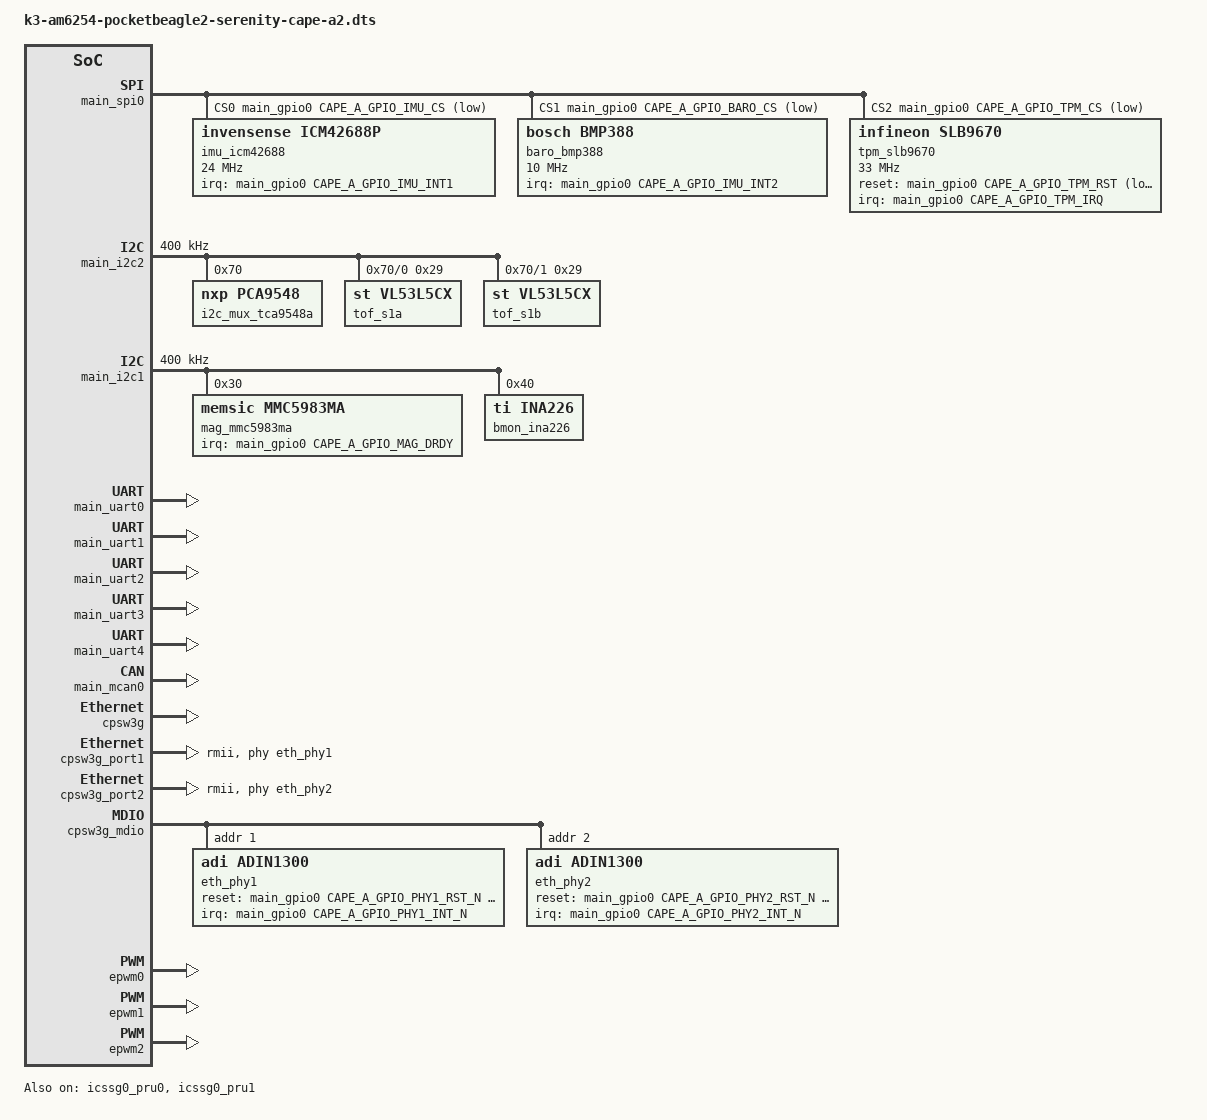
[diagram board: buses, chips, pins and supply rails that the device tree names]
// SPDX-License-Identifier: CC-BY-4.0
/*
 * k3-am6254-pocketbeagle2-serenity-cape-a2.dts
 * Device tree overlay — Serenity UAV Cape-A-2 (EMI-hardened Sensor & Flight Control)
 *
 * Author:  Steve Griffing, PE(CSE), CISSP-ISSEP, CPP
 * License: CC BY 4.0 — creativecommons.org/licenses/by/4.0
 *
 * Target:
 *   Board  : PocketBeagle 2 Industrial (DigiKey 2820-100003007-ND)
 *   SoC    : TI AM6254 (quad Cortex-A53 @ 1.4 GHz, dual PRU-ICSS)
 *   OS     : BeagleBone Debian Trixie (Linux ≥ 6.1, dtc 1.7.x)
 *   Cape   : Cape-A-2 — EMI-hardened sensor + flight control cape
 *   Rev    : N-2
 *
 * Build:
 *   dtc -@ -I dts -O dtb \
 *       -o k3-am6254-pocketbeagle2-serenity-cape-a2.dtbo \
 *       k3-am6254-pocketbeagle2-serenity-cape-a2.dts
 *
 * Install:
 *   sudo cp *.dtbo /boot/firmware/overlays/
 *   Add "fdtoverlays /overlays/k3-am6254-pocketbeagle2-serenity-cape-a2.dtbo"
 *   to /boot/firmware/extlinux/extlinux.conf
 *
 * ═══════════════════════════════════════════════════════════════════════════
 * PAD OFFSET VERIFICATION NOTICE
 * ═══════════════════════════════════════════════════════════════════════════
 * AM62X_IOPAD offsets must be cross-checked against BOTH:
 *   (1) TI AM6254 Technical Reference Manual, SPRUJ40, Table 7-1
 *       "MAIN Domain Pad Control Registers"
 *   (2) PocketBeagle 2 Industrial schematic — BeagleBoard.org hardware repo
 *       (maps AM6254 balls to P1/P2 header pins)
 * Offsets tagged [CONFIRMED] are from k3-am625-sk.dtsi, Linux 6.x kernel.
 * Offsets tagged [ESTIMATE] follow the AM62x pad-table pattern and must be
 * verified before committing to PCB fab or first-flight operations.
 * GPIO line numbers (main_gpio0 / main_gpio1) are logical and must be
 * verified against the PocketBeagle 2 expansion header pin map.
 * ═══════════════════════════════════════════════════════════════════════════
 *
 * EMI-hardened -2 variant: 5 kV reinforced insulation on CAN FD, RS-485, Ethernet
 * [REF-IEC-001 Cl.5.5.2] / [REF-VDE-001 Cl.4.3, Cl.5.3] — per component datasheet certs
 *
 * Cape-A-2 peripheral map:
 *   SPI0      — ICM-42688-P IMU, BMP388 barometer, SLB9670 TPM 2.0
 *               (Cape-A-2: ISOW1044BDFMR CAN FD; ADM2795EBRWZ RS-485; ADIN1300BCPZ PHY)
 *   I2C1      — MMC5983MA magnetometer (0x30), INA226AIDGSR battery monitor (0x40)
 *   I2C2      — TCA9548A 8-ch mux → 2× VL53L5CX ToF (array A), MS4525DO
 *   UART0     — Debug console (JST-GH 4-pin)
 *   UART1     — ESC UART telemetry input (BLHeli32/Hobbywing)
 *   UART2     — SBUS RC input (100 kbaud 8E2 after 74LVC1G14 signal inverter)
 *   UART3     — u-blox M10Q GNSS (38400 baud default)
 *   UART4     — RS-485 half-duplex via ADM2795EBRWZ (DE/RE# GPIOs)
 *   MCAN0     — CAN FD 1/8 Mbps via ISOW1044BDFMR (isolated, STB# GPIO)
 *   CPSW3G    — 2× ADIN1300BCPZ 100BASE-TX RMII PHY (isolated via ISO7642FDWRR + Würth 749010012A)
 *   EHRPWM0-5 — Servo/ESC PWM (6 channels hardware, 50/400 Hz)
 *   PRU-ICSS0/PRU0 — MIL-STD-1553B Manchester II codec (1 Mbps)
 *   PRU-ICSS0/PRU1 — Extended servo PWM channels 6-7 (deterministic)
 *
 * References:
 *   [1] TI AM6254 TRM, SPRUJ40 — pad table §7.1, PRU-ICSS §12, CPSW3G §13, MCAN §15
 *   [2] PocketBeagle 2 Industrial schematic, BeagleBoard.org hardware repo
 *   [3] ISOW1044BDFMR datasheet, TI SLLSEP5 — isolated CAN FD transceiver
 *       [REF-IEC-001 Cl.5.5.2] / [REF-VDE-001 Cl.4.3, Cl.5.3] — 5 kV RI
 *       [REF-ISO-001 Cl.10, Cl.12] — CAN FD protocol interface
 *   [4] ADM2795EBRWZ datasheet, Analog Devices — isolated RS-485 transceiver
 *       [REF-IEC-001 Cl.5.5.2] / [REF-VDE-001 Cl.4.3, Cl.5.3] — 5 kV RI
 *   [5] ADIN1300BCPZ datasheet, Analog Devices Rev B — 100/1000BASE-T PHY
 *       [REF-IEEE-001 Cl.22 RMII, Cl.24 100BASE-TX]
 *   [6] ISO7642FDWRR datasheet, TI SLLSEP2 — 6-channel digital isolator
 *       [REF-IEC-001 Cl.5.5.2] — isolation component in Ethernet barrier
 *   [7] Würth Elektronik 749010012A datasheet — Ethernet transformer 1500 Vrms
 *       [REF-IEEE-001 Cl.38] — 1500 Vrms port isolation per IEEE 802.3
 *   [8] MMC5983MA datasheet, MEMSIC DS-MMC5983MA-A, Rev 0.3
 *   [9] INA226 datasheet, TI SBOS547C
 *   [10] PRTR5V0U2X datasheet, Nexperia — TVS for ESD/transient protection
 */

/dts-v1/;
/plugin/;

#include <dt-bindings/gpio/gpio.h>
#include <dt-bindings/interrupt-controller/irq.h>
#include <dt-bindings/pinctrl/k3.h>
#include <dt-bindings/net/ti-dp83867.h>

/* ───────────────────────────────────────────────────────────────────────────
 * GPIO line assignments on main_gpio0 — VERIFY AGAINST PB2 SCHEMATIC
 * Line numbers correspond to AM6254 GPIO bank 0 pins exposed on P1/P2.
 * Identical to Cape-A-1 GPIO assignments; the EMI-hardened transceivers
 * (ISOW1044BDFMR, ADM2795EBRWZ, ADIN1300BCPZ) present the same electrical
 * interface to the SoC as the v1 components.
 * ─────────────────────────────────────────────────────────────────────────*/
#define CAPE_A_GPIO_IMU_INT1        14  /* ICM-42688-P interrupt 1      [ESTIMATE] */
#define CAPE_A_GPIO_IMU_INT2        15  /* ICM-42688-P interrupt 2      [ESTIMATE] */
#define CAPE_A_GPIO_IMU_CS          16  /* SPI0 CS — ICM-42688-P        [ESTIMATE] */
#define CAPE_A_GPIO_BARO_CS         17  /* SPI0 CS — BMP388             [ESTIMATE] */
#define CAPE_A_GPIO_TPM_CS          18  /* SPI0 CS — SLB9670 TPM        [ESTIMATE] */
#define CAPE_A_GPIO_TPM_IRQ         19  /* SLB9670 IRQ (active-low)     [ESTIMATE] */
#define CAPE_A_GPIO_TPM_RST         20  /* SLB9670 reset (active-low)   [ESTIMATE] */
#define CAPE_A_GPIO_GPS_RST         21  /* u-blox M10Q RESETN           [ESTIMATE] */
#define CAPE_A_GPIO_GPS_TIMEPULSE   22  /* u-blox M10Q TIMEPULSE        [ESTIMATE] */
#define CAPE_A_GPIO_RS485_DE        23  /* ADM2795EBRWZ driver enable   [ESTIMATE] */
#define CAPE_A_GPIO_RS485_RE_N      24  /* ADM2795EBRWZ receiver enable#[ESTIMATE] */
#define CAPE_A_GPIO_CAN_STB_N       25  /* ISOW1044BDFMR standby#       [ESTIMATE] */
#define CAPE_A_GPIO_PHY1_RST_N      26  /* ADIN1300BCPZ #1 reset        [ESTIMATE] */
#define CAPE_A_GPIO_PHY1_INT_N      27  /* ADIN1300BCPZ #1 interrupt    [ESTIMATE] */
#define CAPE_A_GPIO_PHY2_RST_N      28  /* ADIN1300BCPZ #2 reset        [ESTIMATE] */
#define CAPE_A_GPIO_PHY2_INT_N      29  /* ADIN1300BCPZ #2 interrupt    [ESTIMATE] */
#define CAPE_A_GPIO_1553_OE1_N      30  /* DS26LV31 output enable 1#    [ESTIMATE] */
#define CAPE_A_GPIO_1553_OE2_N      31  /* DS26LV31 output enable 2#    [ESTIMATE] */
#define CAPE_A_GPIO_MAG_DRDY        32  /* MMC5983MA DRDY interrupt (active-high) [ESTIMATE] */

/* Cape-A-2: No additional GPIO defines vs v1.
 * ISOW1044BDFMR CAN FD transceiver: same STB# GPIO as ATA6561.
 * ADM2795EBRWZ RS-485 transceiver: same DE/RE# GPIOs as MAX3485E.
 * ADIN1300BCPZ Ethernet PHY: same RST#/INT# GPIOs as DP83825I.
 * PRTR5V0U2X TVS on SBUS_RAW: passive, no GPIO needed.                     */

/* ───────────────────────────────────────────────────────────────────────────
 * Section 1 — Pin control configurations
 * ─────────────────────────────────────────────────────────────────────────*/
&main_pmx0 {

    /* SPI0: ICM-42688-P IMU + BMP388 barometer + SLB9670 TPM.
     * Chip selects are GPIO-controlled (cs-gpios on the SPI node) so only
     * the 4-wire bus pins appear here.                                    */
    cape_a_spi0_pins: cape-a-spi0-pins {
        pinctrl-single,pins = <
            /* [CONFIRMED — k3-am625-sk.dtsi] */
            AM62X_IOPAD(0x01bc, PIN_INPUT,  0) /* (A13) SPI0_CLK              */
            AM62X_IOPAD(0x01c0, PIN_OUTPUT, 0) /* (B13) SPI0_D0   (MOSI)      */
            AM62X_IOPAD(0x01c4, PIN_INPUT,  0) /* (B12) SPI0_D1   (MISO)      */
        >;
    };

    /* I2C2: TCA9548A mux + downstream VL53L5CX ToF + MS4525DO airspeed.  */
    cape_a_i2c2_pins: cape-a-i2c2-pins {
        pinctrl-single,pins = <
            /* [ESTIMATE — GPMC0_CSn2/CSn3 pads in mux1] */
            AM62X_IOPAD(0x00b0, PIN_INPUT_PULLUP, 1) /* (K22) I2C2_SCL          */
            AM62X_IOPAD(0x00b4, PIN_INPUT_PULLUP, 1) /* (K24) I2C2_SDA          */
        >;
    };

    /* UART0: debug console.                                               */
    cape_a_uart0_pins: cape-a-uart0-pins {
        pinctrl-single,pins = <
            /* [CONFIRMED — k3-am625-sk.dtsi, SPI0_CS0/CS1 pads mux1]    */
            AM62X_IOPAD(0x01c8, PIN_INPUT,  1) /* (D14) UART0_RXD             */
            AM62X_IOPAD(0x01cc, PIN_OUTPUT, 1) /* (E14) UART0_TXD             */
        >;
    };

    /* UART1: ESC UART telemetry (BLHeli32 / Hobbywing one-wire or 2-wire).*/
    cape_a_uart1_pins: cape-a-uart1-pins {
        pinctrl-single,pins = <
            /* [CONFIRMED — MCASP0_AFSR/ACLKR pads mux2]                  */
            AM62X_IOPAD(0x01ac, PIN_INPUT,  2) /* (E19) UART1_RXD             */
            AM62X_IOPAD(0x01b0, PIN_OUTPUT, 2) /* (A20) UART1_TXD             */
        >;
    };

    /* UART3: u-blox M10Q GNSS, 38400 baud default (upgradeable to 460800).*/
    cape_a_uart3_pins: cape-a-uart3-pins {
        pinctrl-single,pins = <
            /* [ESTIMATE — GPMC0_AD area, mux4] */
            AM62X_IOPAD(0x0048, PIN_INPUT,  4) /* UART3_RXD                   */
            AM62X_IOPAD(0x004c, PIN_OUTPUT, 4) /* UART3_TXD                   */
        >;
    };

    /* UART4: RS-485 (ADM2795EBRWZ). Direction controlled by DE/RE# GPIOs. */
    cape_a_uart4_pins: cape-a-uart4-pins {
        pinctrl-single,pins = <
            /* [ESTIMATE — GPMC0_AD area, mux4] */
            AM62X_IOPAD(0x0058, PIN_INPUT,  4) /* UART4_RXD                   */
            AM62X_IOPAD(0x005c, PIN_OUTPUT, 4) /* UART4_TXD                   */
        >;
    };

    /* MCAN0: CAN FD via ISOW1044BDFMR isolated transceiver.              */
    cape_a_mcan0_pins: cape-a-mcan0-pins {
        pinctrl-single,pins = <
            /* [CONFIRMED — k3-am625-sk.dtsi] */
            AM62X_IOPAD(0x01d8, PIN_OUTPUT, 0) /* (C15) MCAN0_TX              */
            AM62X_IOPAD(0x01dc, PIN_INPUT,  0) /* (E15) MCAN0_RX              */
        >;
    };

    /* CPSW3G MDIO: shared MDC/MDIO bus for both ADIN1300BCPZ PHYs.       */
    cape_a_mdio_pins: cape-a-mdio-pins {
        pinctrl-single,pins = <
            /* [ESTIMATE — dedicated MDIO pad area] */
            AM62X_IOPAD(0x0160, PIN_OUTPUT,       0) /* MDC                    */
            AM62X_IOPAD(0x0164, PIN_INPUT_PULLUP, 0) /* MDIO                   */
        >;
    };

    /* CPSW3G Port 1 — RMII (ADIN1300BCPZ #1, uplink/port-side ring segment). */
    cape_a_rmii1_pins: cape-a-rmii1-pins {
        pinctrl-single,pins = <
            /* [ESTIMATE — RGMII1 pad area in RMII mux] */
            AM62X_IOPAD(0x0120, PIN_INPUT,  4) /* RMII1_RXD0                  */
            AM62X_IOPAD(0x0124, PIN_INPUT,  4) /* RMII1_RXD1                  */
            AM62X_IOPAD(0x0128, PIN_INPUT,  4) /* RMII1_RX_ER                 */
            AM62X_IOPAD(0x012c, PIN_INPUT,  4) /* RMII1_CRS_DV                */
            AM62X_IOPAD(0x0130, PIN_OUTPUT, 4) /* RMII1_TXD0                  */
            AM62X_IOPAD(0x0134, PIN_OUTPUT, 4) /* RMII1_TXD1                  */
            AM62X_IOPAD(0x0138, PIN_OUTPUT, 4) /* RMII1_TX_EN                 */
            AM62X_IOPAD(0x013c, PIN_INPUT,  4) /* RMII1_REF_CLK (50 MHz in)   */
        >;
    };

    /* CPSW3G Port 2 — RMII (ADIN1300BCPZ #2, starboard ring segment).    */
    cape_a_rmii2_pins: cape-a-rmii2-pins {
        pinctrl-single,pins = <
            /* [ESTIMATE — RGMII2 pad area in RMII mux] */
            AM62X_IOPAD(0x0148, PIN_INPUT,  4) /* RMII2_RXD0                  */
            AM62X_IOPAD(0x014c, PIN_INPUT,  4) /* RMII2_RXD1                  */
            AM62X_IOPAD(0x0150, PIN_INPUT,  4) /* RMII2_RX_ER                 */
            AM62X_IOPAD(0x0154, PIN_INPUT,  4) /* RMII2_CRS_DV                */
            AM62X_IOPAD(0x0158, PIN_OUTPUT, 4) /* RMII2_TXD0                  */
            AM62X_IOPAD(0x015c, PIN_OUTPUT, 4) /* RMII2_TXD1                  */
            AM62X_IOPAD(0x0168, PIN_OUTPUT, 4) /* RMII2_TX_EN                 */
            AM62X_IOPAD(0x016c, PIN_INPUT,  4) /* RMII2_REF_CLK               */
        >;
    };

    /* EHRPWM0-A / EHRPWM1-A: servo/ESC channels 0 and 1.                */
    cape_a_ehrpwm0_pins: cape-a-ehrpwm0-pins {
        pinctrl-single,pins = <
            /* [ESTIMATE] */
            AM62X_IOPAD(0x01a0, PIN_OUTPUT, 6) /* EHRPWM0_A (SERVO0)          */
            AM62X_IOPAD(0x01a4, PIN_OUTPUT, 6) /* EHRPWM0_B (SERVO1)          */
        >;
    };

    cape_a_ehrpwm1_pins: cape-a-ehrpwm1-pins {
        pinctrl-single,pins = <
            /* [ESTIMATE] */
            AM62X_IOPAD(0x01a8, PIN_OUTPUT, 6) /* EHRPWM1_A (SERVO2)          */
            AM62X_IOPAD(0x01b8, PIN_OUTPUT, 6) /* EHRPWM1_B (SERVO3)          */
        >;
    };

    cape_a_ehrpwm2_pins: cape-a-ehrpwm2-pins {
        pinctrl-single,pins = <
            /* [ESTIMATE] */
            AM62X_IOPAD(0x01b4, PIN_OUTPUT, 6) /* EHRPWM2_A (SERVO4)          */
            AM62X_IOPAD(0x01b8, PIN_OUTPUT, 6) /* EHRPWM2_B (SERVO5)          */
        >;
    };

    /* PRU-ICSS0 MIL-STD-1553 GPIO pins.
     * PRU0 drives DS26LV31 TX inputs (differential pair) and reads
     * DS26LV32 RX outputs (differential pair).
     * PRG0_PRU0_GPIOxx line numbers must match the PRU firmware.         */
    cape_a_pru0_1553_pins: cape-a-pru0-1553-pins {
        pinctrl-single,pins = <
            /* [ESTIMATE — PRG0 GPIO pad area] */
            AM62X_IOPAD(0x00d0, PIN_OUTPUT, 5) /* PRG0_PRU0_GPO0 → 1553_TX_P  */
            AM62X_IOPAD(0x00d4, PIN_OUTPUT, 5) /* PRG0_PRU0_GPO1 → 1553_TX_N  */
            AM62X_IOPAD(0x00d8, PIN_INPUT,  5) /* PRG0_PRU0_GPI2 ← 1553_RX_P  */
            AM62X_IOPAD(0x00dc, PIN_INPUT,  5) /* PRG0_PRU0_GPI3 ← 1553_RX_N  */
        >;
    };

    /* PRU-ICSS0 PRU1 extra servo PWM pins (channels 6-7).               */
    cape_a_pru1_pwm_pins: cape-a-pru1-pwm-pins {
        pinctrl-single,pins = <
            /* [ESTIMATE] */
            AM62X_IOPAD(0x00e0, PIN_OUTPUT, 5) /* PRG0_PRU1_GPO0 → SERVO6     */
            AM62X_IOPAD(0x00e4, PIN_OUTPUT, 5) /* PRG0_PRU1_GPO1 → SERVO7     */
        >;
    };

    /* I2C1: MMC5983MA magnetometer + INA226AIDGSR battery voltage monitor.
     * 400 kHz fast mode.  2.2 kΩ pull-ups to +3V3 on Cape-A-2 PCB.       */
    cape_a_i2c1_pins: cape-a-i2c1-pins {
        pinctrl-single,pins = <
            /* [ESTIMATE — I2C1 pad area; verify in SPRUJ40 Table 7-1] */
            AM62X_IOPAD(0x0260, PIN_INPUT_PULLUP, 0) /* (D7)  I2C1_SCL          */
            AM62X_IOPAD(0x0264, PIN_INPUT_PULLUP, 0) /* (E7)  I2C1_SDA          */
        >;
    };

    /* UART2: SBUS RC input (receive-only).
     * Signal path: RC receiver → J_SBUS (JST-GH 3P, Pin 3) → PRTR5V0U2X TVS
     * (Cape-A-2 ESD protection on SBUS_RAW) → 100 Ω R_SBUS
     * → 74LVC1G14 Schmitt-trigger inverter (re-inverts SBUS idle-low to
     * idle-high) → UART2_RXD.
     * SBUS format: 100000 baud, 8 data bits, even parity, 2 stop bits.
     * TX pin is not muxed — SBUS is unidirectional (receive only).
     * Baud rate and format are configured at runtime by serenity-fc using
     * BOTHER / struct termios2 (Linux 3.7+ POSIX extension).               */
    cape_a_uart2_sbus_pins: cape-a-uart2-sbus-pins {
        pinctrl-single,pins = <
            /* [ESTIMATE — UART2 RXD pad, mux mode 4; verify in SPRUJ40] */
            AM62X_IOPAD(0x0060, PIN_INPUT, 4) /* UART2_RXD (SBUS after inverter) */
        >;
    };
};

/* ───────────────────────────────────────────────────────────────────────────
 * Section 2 — SPI0: IMU, barometer, TPM 2.0
 * CS lines are GPIO because the AM6254 SPI0 hardware CS count may be
 * insufficient for 3 devices; this also allows individual power sequencing.
 * ─────────────────────────────────────────────────────────────────────────*/
&main_spi0 {
    status = "okay";
    pinctrl-names = "default";
    pinctrl-0 = <&cape_a_spi0_pins>;
    /* Three GPIO chip-selects; SPI controller CS pin is not used.        */
    cs-gpios = <&main_gpio0 CAPE_A_GPIO_IMU_CS  GPIO_ACTIVE_LOW>,
               <&main_gpio0 CAPE_A_GPIO_BARO_CS GPIO_ACTIVE_LOW>,
               <&main_gpio0 CAPE_A_GPIO_TPM_CS  GPIO_ACTIVE_LOW>;
    #address-cells = <1>;
    #size-cells = <0>;

    /* ICM-42688-P 6-axis IMU — InvenSense, SPI mode 0 or 3, 24 MHz max. */
    imu_icm42688: imu@0 {
        compatible = "invensense,icm42688p";
        reg = <0>;                           /* CS index 0 (IMU_CS GPIO)   */
        spi-max-frequency = <24000000>;
        spi-cpol;                            /* CPOL=1 CPHA=1 (SPI mode 3) */
        spi-cpha;
        interrupt-parent = <&main_gpio0>;
        interrupts = <CAPE_A_GPIO_IMU_INT1 IRQ_TYPE_EDGE_RISING>;
        /*
         * Mount rotation: board coordinate frame → NED body frame.
         * Fill in after physical inspection of IMU orientation on Cape-A-2.
         * Reference: InvenSense ICM-42688-P datasheet, rev 1.7.
         */
        mount-matrix = "1", "0", "0",
                        "0", "1", "0",
                        "0", "0", "1";
    };

    /* BMP388 barometric pressure + temperature — Bosch, SPI mode 0.      */
    baro_bmp388: barometer@1 {
        compatible = "bosch,bmp388";
        reg = <1>;                           /* CS index 1 (BARO_CS GPIO)  */
        spi-max-frequency = <10000000>;
        interrupt-parent = <&main_gpio0>;
        interrupts = <CAPE_A_GPIO_IMU_INT2 IRQ_TYPE_EDGE_RISING>;
        /* Data-ready interrupt wired to same GPIO bank as IMU INT2 —
         * re-assign if conflict during layout.                           */
    };

    /* SLB9670 TPM 2.0 — Infineon, SPI mode 0, 33 MHz max.               */
    tpm_slb9670: tpm@2 {
        compatible = "infineon,slb9670";
        reg = <2>;                           /* CS index 2 (TPM_CS GPIO)   */
        spi-max-frequency = <33000000>;
        interrupt-parent = <&main_gpio0>;
        interrupts = <CAPE_A_GPIO_TPM_IRQ IRQ_TYPE_LEVEL_LOW>;
        reset-gpios = <&main_gpio0 CAPE_A_GPIO_TPM_RST GPIO_ACTIVE_LOW>;
    };
};

/* ───────────────────────────────────────────────────────────────────────────
 * Section 3 — I2C2: TCA9548A mux → VL53L5CX ToF sensors, MS4525DO airspeed
 * ─────────────────────────────────────────────────────────────────────────*/
&main_i2c2 {
    status = "okay";
    pinctrl-names = "default";
    pinctrl-0 = <&cape_a_i2c2_pins>;
    clock-frequency = <400000>;              /* Fast mode 400 kHz          */
    #address-cells = <1>;
    #size-cells = <0>;

    /* TCA9548A 8-channel I2C multiplexer — NXP/TI, address 0x70.
     * All VL53L5CX sensors share address 0x29; the mux isolates them.   */
    i2c_mux_tca9548a: i2c-mux@70 {
        compatible = "nxp,pca9548";
        reg = <0x70>;
        #address-cells = <1>;
        #size-cells = <0>;
        /* reset-gpios not wired on Cape-A-2 rev N-2; add if rev adds RST. */

        /* Channel 0: Array A sensor 1 (S1A — forward, FC3 primary).    */
        i2c_tof_ch0: i2c@0 {
            #address-cells = <1>;
            #size-cells = <0>;
            reg = <0>;

            tof_s1a: tof@29 {
                compatible = "st,vl53l5cx";
                reg = <0x29>;
                /*
                 * VL53L5CX does not expose a kernel interrupt line in
                 * the mainline driver; polling is used in firmware.
                 * Future: wire INT pin through mux GPIO expander.
                 */
            };
        };

        /* Channel 1: Array B sensor 1 (S1B — aft, FC2 primary).        */
        i2c_tof_ch1: i2c@1 {
            #address-cells = <1>;
            #size-cells = <0>;
            reg = <1>;

            tof_s1b: tof@29 {
                compatible = "st,vl53l5cx";
                reg = <0x29>;
            };
        };

        /* Channel 2: MS4525DO differential airspeed (FC1 only; optional).*/
        i2c_airspeed_ch2: i2c@2 {
            #address-cells = <1>;
            #size-cells = <0>;
            reg = <2>;

            airspeed_ms4525: airspeed@28 {
                compatible = "ms4525do";         /* VERIFY driver name    */
                reg = <0x28>;
                /* Populated on FC1 only; leave absent on FC2-FC4 builds. */
                status = "disabled";
            };
        };

        /* Channels 3-7: reserved for future sensors.                    */
    };
};

/* ───────────────────────────────────────────────────────────────────────────
 * Section 3b — I2C1: MMC5983MA magnetometer + INA226AIDGSR battery monitor
 * (Cape-A-2 EMI-hardened variants of QMC5883L and INA219 on Cape-A-1)
 * ─────────────────────────────────────────────────────────────────────────*/
&main_i2c1 {
    status = "okay";
    pinctrl-names = "default";
    pinctrl-0 = <&cape_a_i2c1_pins>;
    clock-frequency = <400000>;
    #address-cells = <1>;
    #size-cells = <0>;

    /* MMC5983MA 3-axis magnetometer — MEMSIC, LGA-16 (2×2 mm), AEC-Q100.
     * Replaces QMC5883L (Cape-A-1) with AEC-Q100 automotive-grade part.
     * 18-bit output, ±8 Gauss full-scale, I2C address 0x30 (SA0 pin = GND).
     * On-chip SET/RESET coil eliminates need for external degaussing.
     * Bandwidth: up to 1000 Hz (continuous measurement mode, BW=11).
     * DRDY output is push-pull, active-high; wired to CAPE_A_GPIO_MAG_DRDY.
     *
     * Key differences from QMC5883L:
     *   - Address 0x30 (vs 0x0D)
     *   - 18-bit vs 16-bit output
     *   - SA0 address select pin (vs fixed address)
     *   - Higher EMI immunity (AEC-Q100 qualification)
     *
     * Reference: MMC5983MA datasheet, MEMSIC, DS-MMC5983MA-A, Rev 0.3.     */
    mag_mmc5983ma: magnetometer@30 {
        compatible = "memsic,mmc5983ma";
        reg = <0x30>;
        interrupt-parent = <&main_gpio0>;
        interrupts = <CAPE_A_GPIO_MAG_DRDY IRQ_TYPE_EDGE_RISING>;
        /*
         * mount-matrix: identity by default.  Adjust after physical
         * inspection of Cape-A-2 PCB to align sensor frame with NED body.
         */
        mount-matrix = "1", "0", "0",
                        "0", "1", "0",
                        "0", "0", "1";
    };

    /* INA226AIDGSR battery voltage monitor — TI, VSSOP-8, I2C addr 0x40.
     * Replaces INA219AIDR (Cape-A-1) with higher voltage range device.
     * A0 and A1 address pins both pulled to GND on Cape-A-2.
     * IN+ and IN− are tied together (voltage-only mode; no shunt resistor).
     * Reads VBAT_MON_P (6S LiPo main bus) via J_VBAT JST-GH 2P connector.
     *
     * Key differences from INA219:
     *   - Max bus voltage: 36 V (vs 26 V on INA219) — more margin for 6S
     *   - 16-bit vs 12-bit bus voltage ADC (1.25 mV vs 4 mV LSB)
     *   - VSSOP-8 (smaller package) vs SOIC-8
     *   - ALERT pin available (not used in v2, reserved for future OVP)
     *   - VS supply pin (powers internal circuits from bus side)
     *
     * Reference: INA226 datasheet, TI SBOS547C, §8.5 Electrical Characteristics. */
    bmon_ina226: battery-monitor@40 {
        compatible = "ti,ina226";
        reg = <0x40>;
        shunt-resistor = <0>; /* Voltage-only mode; no shunt installed */
    };
};

/* ───────────────────────────────────────────────────────────────────────────
 * Section 4 — UARTs
 * ─────────────────────────────────────────────────────────────────────────*/

/* UART0: debug console (115200 8N1).                                      */
&main_uart0 {
    status = "okay";
    pinctrl-names = "default";
    pinctrl-0 = <&cape_a_uart0_pins>;
};

/* UART1: ESC UART telemetry, 115200 baud (BLHeli32 digital protocol).
 * The AM6254 eCAP peripheral captures the BDSHOT600 telemetry frame;
 * this UART is used as a fallback for analogue telemetry only.           */
&main_uart1 {
    status = "okay";
    pinctrl-names = "default";
    pinctrl-0 = <&cape_a_uart1_pins>;
};

/* UART2: SBUS RC input (100 kbaud, 8 data bits, even parity, 2 stop bits).
 *
 * SBUS is a proprietary RC protocol (Futaba S.BUS) that uses an inverted
 * UART signal at 100 kbaud 8E2.  On Cape-A-2 the PRTR5V0U2X TVS provides
 * ESD/transient protection on SBUS_RAW before the 74LVC1G14 Schmitt-trigger
 * inverter (U_SBUS) re-inverts the signal to standard idle-high UART logic
 * before it reaches UART2_RXD.  The serenity-fc daemon configures the port
 * at runtime using struct termios2 / BOTHER ioctl to achieve exactly 100000
 * baud (not available as a named POSIX B-constant), and sets PARENB |
 * CSTOPB for 8E2 framing.
 *
 * SBUS frame: 25 data bytes at 100 kbaud → 2.5 ms per frame; 14 ms nominal
 * inter-frame gap (standard Futaba SBUS).  The driver identifies frame
 * boundaries using the 0x0F start byte and 0x00 end byte.
 *
 * 16 proportional channels (11 bits each) + 2 digital channels + flags byte
 * are decoded by the sbus_input driver (firmware/common/src/sbus_input.c).  */
&main_uart2 {
    status = "okay";
    pinctrl-names = "default";
    pinctrl-0 = <&cape_a_uart2_sbus_pins>;
};

/* UART3: u-blox M10Q GNSS.  userspace (gpsd) owns this port.
 * TIMEPULSE and RESETN are managed by the serenity-fc daemon via GPIO.  */
&main_uart3 {
    status = "okay";
    pinctrl-names = "default";
    pinctrl-0 = <&cape_a_uart3_pins>;
};

/* UART4: RS-485 half-duplex via ADM2795EBRWZ (Cape-A-2 EMI-hardened; same
 * electrical interface as MAX3485E on Cape-A-1).  Direction toggled via
 * DE and RE# GPIOs.  IEC 62368-1 / VDE 0884-11 isolation: 5 kV (ADI).     */
&main_uart4 {
    status = "okay";
    pinctrl-names = "default";
    pinctrl-0 = <&cape_a_uart4_pins>;
    linux,rs485-enabled-at-boot-time;
    rs485-rts-active-high;                   /* DE asserted high = TX     */
    rs485-rx-during-tx;                      /* duplex: echo suppressed   */
};

/* ───────────────────────────────────────────────────────────────────────────
 * Section 5 — CAN FD (MCAN0 + ISOW1044BDFMR isolated transceiver)
 *
 * UART4→MCAN0: ATA6561 replaced by ISOW1044BDFMR (Cape-A-2 EMI-hardened).
 * ISOW1044BDFMR: fully-isolated CAN FD transceiver, SOIC-16W, 5 kV.
 * Electrical interface to MCAN0 is identical to ATA6561.
 * STB# GPIO (CAPE_A_GPIO_CAN_STB_N) function unchanged.
 * ─────────────────────────────────────────────────────────────────────────*/
&main_mcan0 {
    status = "okay";
    pinctrl-names = "default";
    pinctrl-0 = <&cape_a_mcan0_pins>;
    /* ISOW1044BDFMR STB# driven low (active) at boot by the FC daemon.
     * Normal mode = STB# = low.  Standby mode = STB# = high.
     * Not modelled in DT; managed via /sys/class/gpio in serenity-fc.   */

    can-transceiver {
        max-bitrate = <8000000>;             /* 8 Mbps FD data rate max   */
    };
};

/* ───────────────────────────────────────────────────────────────────────────
 * Section 6 — Ethernet: CPSW3G + 2× ADIN1300BCPZ RMII PHY (Cape-A-2)
 *
 * Cape-A-2 replaces DP83825I with ADIN1300BCPZ (Analog Devices, 1000BASE-T).
 * The ADIN1300 is connected through:
 *   - 2× ISO7642FDWRR 6-channel digital isolators (3+3 config, 5 kV,
 *     Texas Instruments) on the RMII data/ctrl signals (6 lines each)
 *   - Würth Elektronik 749010012A Ethernet transformer (1500 V isolation)
 *   - JST-GH 4P connector (2-pair MDI — no RJ45 per design constraint)
 *
 * The isolators are transparent to the SoC RMII interface; no pinmux or
 * CPSW3G changes are required vs Cape-A-1.  The ADIN1300 MDIO management
 * bus passes through the same ISO7642FDWRR isolator (dedicated channels).
 *
 * The ADIN1300 supports 10/100/1000 Mbps; the ring uses 100BASE-TX.
 * Configured in RMII mode to match CPSW3G RMII pin configuration.
 * ─────────────────────────────────────────────────────────────────────────*/
&cpsw3g {
    status = "okay";
};

&cpsw3g_port1 {
    status = "okay";
    pinctrl-names = "default";
    pinctrl-0 = <&cape_a_rmii1_pins>;
    phy-handle = <&eth_phy1>;
    phy-mode = "rmii";
    ti,mac-only;
    /* 50 MHz reference clock from ADIN1300BCPZ #1 REF_CLK output.         */
};

&cpsw3g_port2 {
    status = "okay";
    pinctrl-names = "default";
    pinctrl-0 = <&cape_a_rmii2_pins>;
    phy-handle = <&eth_phy2>;
    phy-mode = "rmii";
    ti,mac-only;
};

&cpsw3g_mdio {
    status = "okay";
    pinctrl-names = "default";
    pinctrl-0 = <&cape_a_mdio_pins>;
    clock-frequency = <1000000>;             /* MDIO clock 1 MHz          */
    #address-cells = <1>;
    #size-cells = <0>;

    /* ADIN1300BCPZ RMII PHY #1 — Analog Devices, 1000BASE-T, MDIO addr 1.
     * Replaces DP83825I #1 (Cape-A-1).  MDIO strap: PHYAD0=1 → addr 1.
     * Reset and interrupt GPIO lines same as Cape-A-1 PHY #1.
     * Isolated side of ISO7642FDWRR; reset propagates through isolator.
     * ADIN1300 reset duration: ≥ 10 ms assert, ≥ 5 ms deassert.
     * Reference: ADIN1300 datasheet, ADI, Rev B, Table 4.                  */
    eth_phy1: ethernet-phy@1 {
        compatible = "adi,adin1300";
        reg = <1>;
        reset-gpios = <&main_gpio0 CAPE_A_GPIO_PHY1_RST_N GPIO_ACTIVE_LOW>;
        reset-assert-us   = <10000>;         /* ADIN1300: ≥ 10 ms assert    */
        reset-deassert-us = <5000>;          /* ADIN1300: ≥ 5 ms deassert   */
        interrupt-parent = <&main_gpio0>;
        interrupts = <CAPE_A_GPIO_PHY1_INT_N IRQ_TYPE_EDGE_FALLING>;
        /*
         * ADIN1300 RMII mode: strap RMII_SEL=1 on Cape-A-2 PCB.
         * The ref clock is provided by the ADIN1300 (master mode, 50 MHz).
         */
        adi,phy-output-clock = "125mhz-free-running";
    };

    /* ADIN1300BCPZ RMII PHY #2 — MDIO addr 2.
     * Replaces DP83825I #2 (Cape-A-1).  PHYAD strap → addr 2.              */
    eth_phy2: ethernet-phy@2 {
        compatible = "adi,adin1300";
        reg = <2>;
        reset-gpios = <&main_gpio0 CAPE_A_GPIO_PHY2_RST_N GPIO_ACTIVE_LOW>;
        reset-assert-us   = <10000>;
        reset-deassert-us = <5000>;
        interrupt-parent = <&main_gpio0>;
        interrupts = <CAPE_A_GPIO_PHY2_INT_N IRQ_TYPE_EDGE_FALLING>;
        adi,phy-output-clock = "125mhz-free-running";
    };
};

/* ───────────────────────────────────────────────────────────────────────────
 * Section 7 — EHRPWM: servo and ESC PWM channels 0-5
 * EHRPWM0-2 each provide an A and B output → 6 channels total.
 * Channels 6-7 are produced by PRU1 (see Section 8).
 * All outputs: 1 µs resolution at 125 MHz SYSCLK / prescaler.
 * ─────────────────────────────────────────────────────────────────────────*/
&epwm0 {
    status = "okay";
    pinctrl-names = "default";
    pinctrl-0 = <&cape_a_ehrpwm0_pins>;
};

&epwm1 {
    status = "okay";
    pinctrl-names = "default";
    pinctrl-0 = <&cape_a_ehrpwm1_pins>;
};

&epwm2 {
    status = "okay";
    pinctrl-names = "default";
    pinctrl-0 = <&cape_a_ehrpwm2_pins>;
};

/* ───────────────────────────────────────────────────────────────────────────
 * Section 8 — PRU-ICSS0: MIL-STD-1553B (PRU0) and extended PWM (PRU1)
 *
 * PRU0 firmware: serenity-pru0-1553.out
 *   Manchester II encoder/decoder at 1 Mbps ± 0.5%.
 *   BC (bus controller) capability on FC1 (elected via CAN FD heartbeat);
 *   all other FC nodes run as RT (remote terminal).
 *   DS26LV31 TX: driven by PRG0_PRU0_GPO0 (TX_P) and GPO1 (TX_N).
 *   DS26LV32 RX: read from PRG0_PRU0_GPI2 (RX_P) and GPI3 (RX_N).
 *   DS26LV31 OE#: controlled via main_gpio0 lines CAPE_A_GPIO_1553_OE1_N
 *                 and CAPE_A_GPIO_1553_OE2_N.
 *   Coupling transformer: PE-68515, 1:1.41, 78 Ω stub resistors.
 *
 * PRU1 firmware: serenity-pru1-pwm.out
 *   Generates SERVO6 and SERVO7 PWM with 1 µs resolution.
 *   DSHOT1200 output capability for future DSHOT ESC support.
 *
 * Firmware binaries are installed to /lib/firmware/serenity/ on the target.
 * ─────────────────────────────────────────────────────────────────────────*/
&icssg0_pru0 {
    status = "okay";
    pinctrl-names = "default";
    pinctrl-0 = <&cape_a_pru0_1553_pins>;
    firmware-name = "serenity/pru0-mil1553.out";
};

&icssg0_pru1 {
    status = "okay";
    pinctrl-names = "default";
    pinctrl-0 = <&cape_a_pru1_pwm_pins>;
    firmware-name = "serenity/pru1-servo-pwm.out";
};
